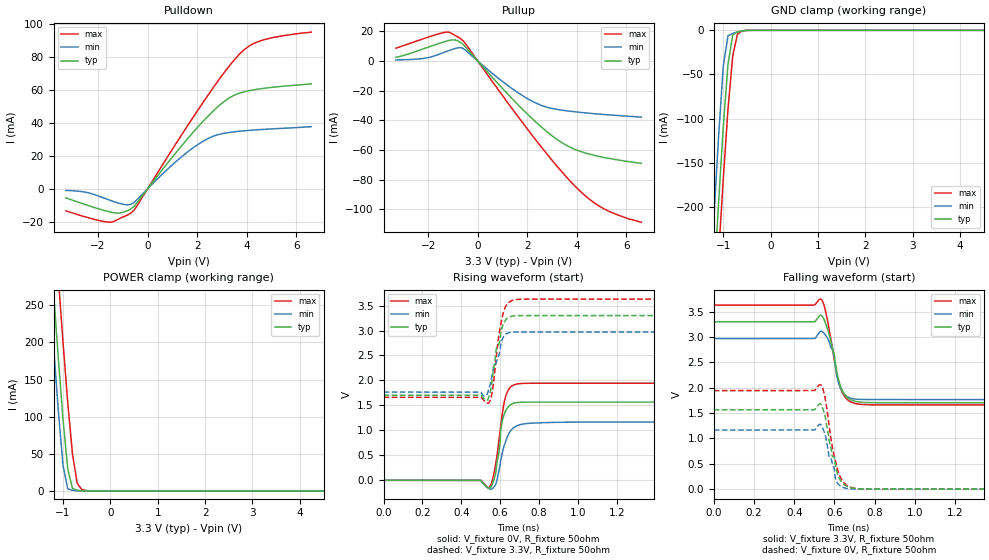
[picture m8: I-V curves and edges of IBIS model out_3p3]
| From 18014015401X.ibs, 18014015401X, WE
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[Model]   out_3p3
Model_type   3-state
Polarity   Non-Inverting
Vmeas = 1.65
Vref = 0
Cref = 15pF
Rref = 50
|   typ   min   max
|   (nom PVT)   (fast PVT)   (slow PVT)
C_comp   9.270e-13   8.382e-13   1.039e-12
| Where nom  PVT is Nominal Process, 3.3V, 27C
|   Fast PVT is Strong Process,  3.63V, -55C
|   Slow PVT is Weak Process,   2.97V, 150C
[Voltage Range]   3.3   2.97   3.63
|Ambient Temperature   25   125   -55
|Junction Temperature
[Temperature Range]   27   150   -55
[Pullup Reference]   3.3   2.97   3.63
[Pulldown Reference]   0   0   0
[Power Clamp Reference]   3.3   2.97   3.63
[GND Clamp Reference]   0   0   0
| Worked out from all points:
|   slope of the pulldown table from 0 to 0.495 V, typ, clamps not added: 51.2 ohm
|   slope of the pullup table from 0 to 0.495 V, typ, clamps not added: 53.1 ohm
|   GND clamp passes 1 mA (typ) near -0.65 V on its own axis
|   POWER clamp passes 1 mA (typ) near -0.70 V on its own axis
|   falling waveform, V_fixture 3.3V, R_fixture 50ohm: 20-80 % time 52ps typ, 37.6ps min, 54.9ps max; typ from 3.3 V to 1.7 V
|   rising waveform, V_fixture 0V, R_fixture 50ohm: 20-80 % time 32.4ps typ, 48.6ps min, 40.8ps max; typ from 0 V to 1.57 V
|   rising waveform, V_fixture 3.3V, R_fixture 50ohm: 20-80 % time 45.4ps typ, 50.5ps min, 39.5ps max; typ from 1.7 V to 3.3 V
|   falling waveform, V_fixture 0V, R_fixture 50ohm: 20-80 % time 52.8ps typ, 42.7ps min, 51.6ps max; typ from 1.57 V to 0 V
[Pulldown]
-3.3V     -5.49mA    -990uA     -13.33mA
-2.4V     -10.12mA   -2.41mA    -17.51mA
-1.6V     -13.73mA   -6.49mA    -20.17mA
-1.1V     -14.63mA   -8.964mA   -17.78mA
-700mV    -12.38mA   -9.501mA   -14.95mA
-500mV    -9.785mA   -7.623mA   -12.03mA
900mV     17.36mA    13.18mA    21.59mA
2V        36.95mA    26.52mA    47.01mA
3V        51.82mA    33.35mA    68.54mA
3.7V      57.88mA    34.84mA    81.42mA
4.6V      60.66mA    35.9mA     89.82mA
6.6V      63.49mA    37.61mA    94.88mA
[GND Clamp]
-3.3V     -2.412A    -2.377A    -2.435A
-1.3V     -384.9mA   -311.3mA   -441.9mA
-1.2V     -289.3mA   -214.6mA   -347.9mA
-1.1V     -196.8mA   -121.8mA   -256.3mA
-1V       -110.3mA   -40.91mA   -168.9mA
-900mV    -38.4mA    -6.152mA   -89.52mA
-800mV    -5.474mA   -3.481mA   -29.01mA
-700mV    -1.531mA   -1.907mA   -4.308mA
-600mV    -532.3uA   -643.3uA   -627.8uA
-500mV    -84.52uA   -60.81uA   -88.69uA
6.6V      0A         0A         0A
[Pullup]
-3.3V     2.51mA     740uA      8.68mA
-2.1V     8.78mA     2mA        15.59mA
-1.3V     13.26mA    6.23mA     19.48mA
-1V       14.31mA    8.01mA     18.12mA
-700mV    12.62mA    9.025mA    15.27mA
1.8V      -32.43mA   -23.27mA   -41.41mA
2.5V      -43.51mA   -29.47mA   -56.64mA
3.3V      -54.07mA   -32.92mA   -73mA
4.2V      -61.31mA   -34.76mA   -88.91mA
4.9V      -64.4mA    -35.83mA   -97.97mA
5.6V      -66.6mA    -36.73mA   -103.6mA
6.6V      -69.06mA   -37.88mA   -108.8mA
[POWER Clamp]
-3.3V     2.306A     2.232A     2.42A
-1.3V     360.6mA    287.4mA    471.3mA
-1.2V     268.7mA    196.1mA    378.8mA
-1.1V     179.8mA    109.1mA    288.2mA
-1V       96.75mA    34.37mA    200.6mA
-900mV    29.7mA     2.806mA    119mA
-800mV    3.469mA    867.1uA    49.89mA
-700mV    903.7uA    216.1uA    10.29mA
-600mV    209.8uA    10.82uA    1.666mA
-300mV    16.96nA    22.14pA    4.026uA
6.6V      0A         0A         0A
[Ramp]
R_load = 50
|   typ   min   max
dV/dt_r   1.566/0.4481e-10   1.166/0.6012e-10   1.944/0.4075e-10
dV/dt_f   1.596/0.598e-10   1.203/0.718e-10   1.967/0.5497e-10
[Falling Waveform]
V_fixture = 3.3V
V_fixture_min = 2.97V
V_fixture_max = 3.63V
R_fixture = 50ohm
C_fixture = 0F
0s        3.3V       2.97V      3.63V
500.4ps   3.3V       2.97V      3.63V
534.4ps   3.427V     3.115V     3.743V
556.5ps   3.259V     3.031V     3.494V
590.2ps   2.776V     2.75V      2.766V
611.3ps   2.302V     2.233V     2.266V
626.1ps   2.077V     2.033V     2.035V
660.4ps   1.822V     1.832V     1.781V
705.7ps   1.731V     1.776V     1.687V
2ns       1.704V     1.767V     1.663V
[Rising Waveform]
V_fixture = 0V
V_fixture_min = 0V
V_fixture_max = 0V
R_fixture = 50ohm
C_fixture = 0F
0s        2.294nV    8.019nV    2.132nV
500ps     2.294nV    8.019nV    2.131nV
542.5ps   -159mV     -167.2mV   -143.9mV
577.6ps   147.6mV    -78.4mV    338.9mV
598.5ps   703.3mV    273.8mV    949mV
603.3ps   1.024V     414.6mV    1.099V
623.7ps   1.352V     731.6mV    1.613V
646.9ps   1.494V     951.2mV    1.838V
680ps     1.554V     1.079V     1.923V
2ns       1.566V     1.166V     1.944V
[Rising Waveform]
V_fixture = 3.3V
V_fixture_min = 2.97V
V_fixture_max = 3.63V
R_fixture = 50ohm
C_fixture = 0F
0s        1.704V     1.767V     1.663V
519.7ps   1.623V     1.686V     1.586V
540.5ps   1.657V     1.811V     1.55V
560.2ps   2.043V     2.142V     1.794V
579.4ps   2.628V     2.359V     2.454V
599ps     2.792V     2.588V     3.04V
613.4ps   3.105V     2.847V     3.322V
634.5ps   3.24V      2.942V     3.522V
671.5ps   3.294V     2.969V     3.612V
2ns       3.3V       2.97V      3.63V
[Falling Waveform]
V_fixture = 0V
V_fixture_min = 0V
V_fixture_max = 0V
R_fixture = 50ohm
C_fixture = 0F
0s        1.566V     1.166V     1.944V
500.4ps   1.567V     1.166V     1.944V
531.4ps   1.68V      1.273V     2.059V
553.5ps   1.445V     1.074V     1.795V
574.2ps   943.5mV    628.1mV    1.22V
588.2ps   652.3mV    525mV      855.5mV
599.1ps   629.6mV    389.1mV    646.6mV
614.6ps   305.7mV    121.8mV    391mV
688.1ps   21.13mV    2.978mV    28.15mV
2ns       -82.21nV   -10.5nV    -35.24nV
